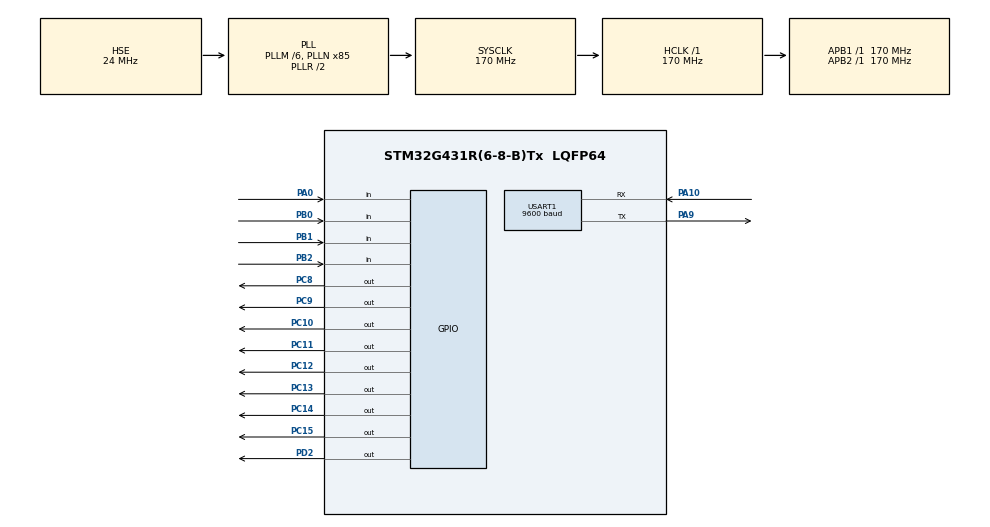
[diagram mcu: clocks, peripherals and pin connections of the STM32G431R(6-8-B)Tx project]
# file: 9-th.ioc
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Mcu.Family=STM32G4
Mcu.Name=STM32G431R(6-8-B)Tx
Mcu.Package=LQFP64
NVIC.PriorityGroup=NVIC_PRIORITYGROUP_4
NVIC.TIM1_UP_TIM16_IRQn=true\:0\:0\:false\:false\:true\:true\:true\:true
PA0.Signal=GPIO_Input
PA10.Mode=Asynchronous
PA10.Signal=USART1_RX
PA13.Mode=Serial_Wire
PA13.Signal=SYS_JTMS-SWDIO
PA14.Mode=Serial_Wire
PA14.Signal=SYS_JTCK-SWCLK
PA9.Mode=Asynchronous
PA9.Signal=USART1_TX
PB0.Signal=GPIO_Input
PB1.Signal=GPIO_Input
PB2.Signal=GPIO_Input
PC10.Signal=GPIO_Output
PC11.Signal=GPIO_Output
PC12.Signal=GPIO_Output
PC13.Signal=GPIO_Output
PC14-OSC32_IN.Signal=GPIO_Output
PC15-OSC32_OUT.Signal=GPIO_Output
PC8.Signal=GPIO_Output
PC9.Signal=GPIO_Output
PD2.Signal=GPIO_Output
PF0-OSC_IN.Mode=HSE-External-Oscillator
PF0-OSC_IN.Signal=RCC_OSC_IN
PF1-OSC_OUT.Mode=HSE-External-Oscillator
PF1-OSC_OUT.Signal=RCC_OSC_OUT
ProjectManager.HeapSize=0x200
ProjectManager.StackSize=0x400
ProjectManager.TargetToolchain=MDK-ARM V5.32
RCC.ADC12Freq_Value=170000000
RCC.AHBFreq_Value=170000000
RCC.APB1Freq_Value=170000000
RCC.APB1TimFreq_Value=170000000
RCC.APB2Freq_Value=170000000
RCC.APB2TimFreq_Value=170000000
RCC.CortexFreq_Value=170000000
RCC.EXTERNAL_CLOCK_VALUE=12288000
RCC.HCLKFreq_Value=170000000
RCC.HSE_VALUE=24000000
RCC.HSI48_VALUE=48000000
RCC.HSI_VALUE=16000000
RCC.LSE_VALUE=32768
RCC.PLLM=RCC_PLLM_DIV6
RCC.PLLN=85
RCC.PLLSourceVirtual=RCC_PLLSOURCE_HSE
RCC.SYSCLKFreq_VALUE=170000000
RCC.SYSCLKSource=RCC_SYSCLKSOURCE_PLLCLK
RCC.USBFreq_Value=170000000
RCC.VCOOutputFreq_Value=340000000
TIM1.PeriodNoDither=10000-1
TIM1.Prescaler=17000-1
USART1.BaudRate=9600
USART1.VirtualMode-Asynchronous=VM_ASYNC
VP_SYS_VS_DBSignals.Mode=DisableDeadBatterySignals
VP_TIM1_VS_ClockSourceINT.Mode=Internal
board=custom

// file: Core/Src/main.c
/* USER CODE BEGIN Header */
/**
  ******************************************************************************
  * @file           : main.c
  * @brief          : Main program body
  ******************************************************************************
  * @attention
  *
  * Copyright (c) 2022 STMicroelectronics.
  * All rights reserved.
  *
  * This software is licensed under terms that can be found in the LICENSE file
  * in the root directory of this software component.
  * If no LICENSE file comes with this software, it is provided AS-IS.
  *
  ******************************************************************************
  */
/* USER CODE END Header */
#include "main.h"
#include "tim.h"
#include "usart.h"
#include "gpio.h"

/* USER CODE BEGIN Includes */
#include "key.h"
#include "lcd.h"
#include "alarm.h"
#include "i2c_hal.h"
/* USER CODE END Includes */

/* USER CODE BEGIN PV */
uint16_t lastNum,nowNum=1;
uint16_t highLightPos=3;

char numStr[20],timeStr[20],stateStr[20],*nowState="Standby";
/* USER CODE END PV */

void SystemClock_Config(void);
/* USER CODE BEGIN PFP */
void LCD_Show(void);
void LCD_highLight(uint8_t Line,uint8_t* str,uint16_t pos);
/* USER CODE END PFP */

int main(void)
{

  /* MCU Configuration--------------------------------------------------------*/

  /* Reset of all peripherals, Initializes the Flash interface and the Systick. */
  HAL_Init();

  /* USER CODE BEGIN Init */
	//HAL_Delay();
  /* USER CODE END Init */

  /* Configure the system clock */
  SystemClock_Config();

  /* Initialize all configured peripherals */
  MX_GPIO_Init();
  MX_USART1_UART_Init();
  MX_TIM1_Init();
  /* USER CODE BEGIN 2 */
	LCD_Init();
	LCD_Clear(Black);
	LCD_SetBackColor(Black);
	LCD_SetTextColor(White);
	I2CInit();
	EEPROM_ReadTime(nowNum);
	LED_Light(0x00);
  /* USER CODE END 2 */

  /* Infinite loop */
  /* USER CODE BEGIN WHILE */
  while (1)
  {
		KEY_Scan();
		LCD_Show();
		//printf("count is:%d:\r\n",htim1.Instance->CNT);
    /* USER CODE END WHILE */

  }
}

void SystemClock_Config(void)
{
  RCC_OscInitTypeDef RCC_OscInitStruct = {0};
  RCC_ClkInitTypeDef RCC_ClkInitStruct = {0};

  /** Configure the main internal regulator output voltage
  */
  HAL_PWREx_ControlVoltageScaling(PWR_REGULATOR_VOLTAGE_SCALE1_BOOST);

  /** Initializes the RCC Oscillators according to the specified parameters
  * in the RCC_OscInitTypeDef structure.
  */
  RCC_OscInitStruct.OscillatorType = RCC_OSCILLATORTYPE_HSE;
  RCC_OscInitStruct.HSEState = RCC_HSE_ON;
  RCC_OscInitStruct.PLL.PLLState = RCC_PLL_ON;
  RCC_OscInitStruct.PLL.PLLSource = RCC_PLLSOURCE_HSE;
  RCC_OscInitStruct.PLL.PLLM = RCC_PLLM_DIV6;
  RCC_OscInitStruct.PLL.PLLN = 85;
  RCC_OscInitStruct.PLL.PLLP = RCC_PLLP_DIV2;
  RCC_OscInitStruct.PLL.PLLQ = RCC_PLLQ_DIV2;
  RCC_OscInitStruct.PLL.PLLR = RCC_PLLR_DIV2;
  if (HAL_RCC_OscConfig(&RCC_OscInitStruct) != HAL_OK)
  {
    Error_Handler();
  }

  /** Initializes the CPU, AHB and APB buses clocks
  */
  RCC_ClkInitStruct.ClockType = RCC_CLOCKTYPE_HCLK|RCC_CLOCKTYPE_SYSCLK
                              |RCC_CLOCKTYPE_PCLK1|RCC_CLOCKTYPE_PCLK2;
  RCC_ClkInitStruct.SYSCLKSource = RCC_SYSCLKSOURCE_PLLCLK;
  RCC_ClkInitStruct.AHBCLKDivider = RCC_SYSCLK_DIV1;
  RCC_ClkInitStruct.APB1CLKDivider = RCC_HCLK_DIV1;
  RCC_ClkInitStruct.APB2CLKDivider = RCC_HCLK_DIV1;

  if (HAL_RCC_ClockConfig(&RCC_ClkInitStruct, FLASH_LATENCY_4) != HAL_OK)
  {
    Error_Handler();
  }
}

/* USER CODE BEGIN 4 */
void LCD_Show(void){
	if(lastNum!=nowNum){
		LCD_DisplayStringLine(Line2,(uint8_t *)numStr);
		lastNum=nowNum;
	}

	sprintf(timeStr,"      %02d:%02d:%02d",nowTime.hour,nowTime.minute,nowTime.second);
	sprintf(numStr,"   No %d",nowNum);
	sprintf(stateStr,"       %s",nowState);

	LCD_DisplayStringLine(Line2,(uint8_t *)numStr);
	if(!strcmp(nowState,Setting)){
		LCD_highLight(Line5,(uint8_t *)timeStr,highLightPos);
	}
	else LCD_DisplayStringLine(Line5,(uint8_t *)timeStr);
	LCD_DisplayStringLine(Line8,(uint8_t *)stateStr);
}

void LCD_highLight(uint8_t Line,uint8_t* str,uint16_t pos){
	for(int i=0;i<strlen((const char *)str);i++){
		if(i!=pos&&i!=(pos+1)) LCD_DisplayChar(Line,320-(16*i),str[i]);
		else{
			LCD_SetBackColor(Blue);
			LCD_DisplayChar(Line,320-(16*i),str[i]);
			LCD_SetBackColor(Black);
		}
	}
}
/* USER CODE END 4 */

void Error_Handler(void)
{
  __disable_irq();
  while (1)
  {
  }
}
